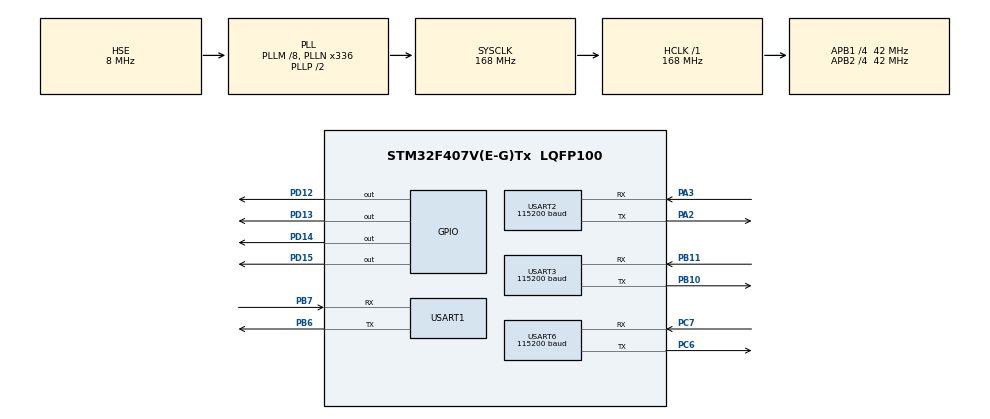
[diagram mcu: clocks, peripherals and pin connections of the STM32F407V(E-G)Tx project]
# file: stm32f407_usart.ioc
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Dma.Request0=USART2_RX
Dma.Request1=USART1_TX
Dma.Request2=USART2_TX
Dma.Request3=USART1_RX
Dma.Request4=USART3_RX
Dma.Request5=USART3_TX
Dma.USART1_RX.3.Direction=DMA_PERIPH_TO_MEMORY
Dma.USART1_RX.3.FIFOMode=DMA_FIFOMODE_DISABLE
Dma.USART1_RX.3.Instance=DMA2_Stream2
Dma.USART1_RX.3.MemDataAlignment=DMA_MDATAALIGN_BYTE
Dma.USART1_RX.3.MemInc=DMA_MINC_ENABLE
Dma.USART1_RX.3.Mode=DMA_CIRCULAR
Dma.USART1_RX.3.PeriphDataAlignment=DMA_PDATAALIGN_BYTE
Dma.USART1_RX.3.PeriphInc=DMA_PINC_DISABLE
Dma.USART1_RX.3.Priority=DMA_PRIORITY_MEDIUM
Dma.USART1_TX.1.Direction=DMA_MEMORY_TO_PERIPH
Dma.USART1_TX.1.FIFOMode=DMA_FIFOMODE_DISABLE
Dma.USART1_TX.1.Instance=DMA2_Stream7
Dma.USART1_TX.1.MemDataAlignment=DMA_MDATAALIGN_BYTE
Dma.USART1_TX.1.MemInc=DMA_MINC_ENABLE
Dma.USART1_TX.1.Mode=DMA_NORMAL
Dma.USART1_TX.1.PeriphDataAlignment=DMA_PDATAALIGN_BYTE
Dma.USART1_TX.1.PeriphInc=DMA_PINC_DISABLE
Dma.USART1_TX.1.Priority=DMA_PRIORITY_MEDIUM
Dma.USART2_RX.0.Direction=DMA_PERIPH_TO_MEMORY
Dma.USART2_RX.0.FIFOMode=DMA_FIFOMODE_DISABLE
Dma.USART2_RX.0.Instance=DMA1_Stream5
Dma.USART2_RX.0.MemDataAlignment=DMA_MDATAALIGN_BYTE
Dma.USART2_RX.0.MemInc=DMA_MINC_ENABLE
Dma.USART2_RX.0.Mode=DMA_CIRCULAR
Dma.USART2_RX.0.PeriphDataAlignment=DMA_PDATAALIGN_BYTE
Dma.USART2_RX.0.PeriphInc=DMA_PINC_DISABLE
Dma.USART2_RX.0.Priority=DMA_PRIORITY_LOW
Dma.USART2_TX.2.Direction=DMA_MEMORY_TO_PERIPH
Dma.USART2_TX.2.FIFOMode=DMA_FIFOMODE_DISABLE
Dma.USART2_TX.2.Instance=DMA1_Stream6
Dma.USART2_TX.2.MemDataAlignment=DMA_MDATAALIGN_BYTE
Dma.USART2_TX.2.MemInc=DMA_MINC_ENABLE
Dma.USART2_TX.2.Mode=DMA_NORMAL
Dma.USART2_TX.2.PeriphDataAlignment=DMA_PDATAALIGN_BYTE
Dma.USART2_TX.2.PeriphInc=DMA_PINC_DISABLE
Dma.USART2_TX.2.Priority=DMA_PRIORITY_LOW
Dma.USART3_RX.4.Direction=DMA_PERIPH_TO_MEMORY
Dma.USART3_RX.4.FIFOMode=DMA_FIFOMODE_DISABLE
Dma.USART3_RX.4.Instance=DMA1_Stream1
Dma.USART3_RX.4.MemDataAlignment=DMA_MDATAALIGN_BYTE
Dma.USART3_RX.4.MemInc=DMA_MINC_ENABLE
Dma.USART3_RX.4.Mode=DMA_CIRCULAR
Dma.USART3_RX.4.PeriphDataAlignment=DMA_PDATAALIGN_BYTE
Dma.USART3_RX.4.PeriphInc=DMA_PINC_DISABLE
Dma.USART3_RX.4.Priority=DMA_PRIORITY_LOW
Dma.USART3_TX.5.Direction=DMA_MEMORY_TO_PERIPH
Dma.USART3_TX.5.FIFOMode=DMA_FIFOMODE_DISABLE
Dma.USART3_TX.5.Instance=DMA1_Stream3
Dma.USART3_TX.5.MemDataAlignment=DMA_MDATAALIGN_BYTE
Dma.USART3_TX.5.MemInc=DMA_MINC_ENABLE
Dma.USART3_TX.5.Mode=DMA_NORMAL
Dma.USART3_TX.5.PeriphDataAlignment=DMA_PDATAALIGN_BYTE
Dma.USART3_TX.5.PeriphInc=DMA_PINC_DISABLE
Dma.USART3_TX.5.Priority=DMA_PRIORITY_LOW
Mcu.Family=STM32F4
Mcu.Name=STM32F407V(E-G)Tx
Mcu.Package=LQFP100
NVIC.DMA1_Stream1_IRQn=true\:0\:0\:false\:false\:true\:true\:true\:true
NVIC.DMA1_Stream3_IRQn=true\:0\:0\:false\:false\:true\:false\:true\:true
NVIC.DMA1_Stream5_IRQn=true\:0\:0\:false\:false\:true\:true\:true\:true
NVIC.DMA1_Stream6_IRQn=true\:0\:0\:false\:false\:true\:false\:true\:true
NVIC.DMA2_Stream2_IRQn=true\:0\:0\:false\:false\:true\:false\:true\:true
NVIC.DMA2_Stream7_IRQn=true\:0\:0\:false\:false\:true\:false\:true\:true
NVIC.PriorityGroup=NVIC_PRIORITYGROUP_4
NVIC.USART1_IRQn=true\:0\:0\:false\:false\:true\:true\:true\:true
NVIC.USART2_IRQn=true\:0\:0\:false\:false\:true\:true\:true\:true
NVIC.USART3_IRQn=true\:0\:0\:false\:false\:true\:true\:true\:true
NVIC.USART6_IRQn=true\:0\:0\:false\:false\:true\:true\:true\:true
PA2.Mode=Asynchronous
PA2.Signal=USART2_TX
PA3.Mode=Asynchronous
PA3.Signal=USART2_RX
PB10.Mode=Asynchronous
PB10.Signal=USART3_TX
PB11.Mode=Asynchronous
PB11.Signal=USART3_RX
PB6.Mode=Asynchronous
PB6.Signal=USART1_TX
PB7.Mode=Asynchronous
PB7.Signal=USART1_RX
PC6.Mode=Asynchronous
PC6.Signal=USART6_TX
PC7.Mode=Asynchronous
PC7.Signal=USART6_RX
PD12.Signal=GPIO_Output
PD13.Signal=GPIO_Output
PD14.Signal=GPIO_Output
PD15.Signal=GPIO_Output
PH0-OSC_IN.Mode=HSE-External-Oscillator
PH0-OSC_IN.Signal=RCC_OSC_IN
PH1-OSC_OUT.Mode=HSE-External-Oscillator
PH1-OSC_OUT.Signal=RCC_OSC_OUT
ProjectManager.HeapSize=0x200
ProjectManager.StackSize=0x400
ProjectManager.TargetToolchain=MDK-ARM V5
RCC.48MHZClocksFreq_Value=84000000
RCC.AHBFreq_Value=168000000
RCC.APB1CLKDivider=RCC_HCLK_DIV4
RCC.APB1Freq_Value=42000000
RCC.APB1TimFreq_Value=84000000
RCC.APB2CLKDivider=RCC_HCLK_DIV4
RCC.APB2Freq_Value=42000000
RCC.APB2TimFreq_Value=84000000
RCC.CortexFreq_Value=168000000
RCC.HCLKFreq_Value=168000000
RCC.HSE_VALUE=8000000
RCC.HSI_VALUE=16000000
RCC.LSE_VALUE=32768
RCC.PLLM=8
RCC.PLLN=336
RCC.PLLSourceVirtual=RCC_PLLSOURCE_HSE
RCC.SYSCLKFreq_VALUE=168000000
RCC.SYSCLKSource=RCC_SYSCLKSOURCE_PLLCLK
RCC.VCOOutputFreq_Value=336000000
USART1.VirtualMode=VM_ASYNC
USART2.BaudRate=115200
USART2.VirtualMode=VM_ASYNC
USART3.BaudRate=115200
USART3.VirtualMode=VM_ASYNC
USART6.BaudRate=115200
USART6.StopBits=STOPBITS_1
USART6.VirtualMode=VM_ASYNC
board=Uart Echo Data Using DMA

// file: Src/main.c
/* USER CODE BEGIN Header */
/**
  ******************************************************************************
  * @file           : main.c
  * @brief          : Main program body
  ******************************************************************************
  * @attention
  *
  * <h2><center>&copy; Copyright (c) 2022 STMicroelectronics.
  * All rights reserved.</center></h2>
  *
  * This software component is licensed by ST under BSD 3-Clause license,
  * the "License"; You may not use this file except in compliance with the
  * License. You may obtain a copy of the License at:
  *                        opensource.org/licenses/BSD-3-Clause
  *
  ******************************************************************************
  */
/* USER CODE END Header */
#include "main.h"

/* USER CODE BEGIN Includes */
#include <stdio.h>
#include <string.h>
/* USER CODE END Includes */

UART_HandleTypeDef huart1;
UART_HandleTypeDef huart2;
UART_HandleTypeDef huart3;
UART_HandleTypeDef huart6;
DMA_HandleTypeDef hdma_usart1_tx;
DMA_HandleTypeDef hdma_usart1_rx;
DMA_HandleTypeDef hdma_usart2_rx;
DMA_HandleTypeDef hdma_usart2_tx;
DMA_HandleTypeDef hdma_usart3_rx;
DMA_HandleTypeDef hdma_usart3_tx;

void SystemClock_Config(void);
static void MX_GPIO_Init(void);
static void MX_DMA_Init(void);
static void MX_USART2_UART_Init(void);
static void MX_USART3_UART_Init(void);
static void MX_USART6_UART_Init(void);
static void MX_USART1_UART_Init(void);

/* USER CODE BEGIN 0 */
uint8_t while_cnt;
uint8_t uart_send_buffer[] = "helloworld!";
uint8_t u1_rx_buffer[UART_RX_SIZE], u2_rx_buffer[UART_RX_SIZE];

char buffer1[SEND_BUFF_SIZE];
char buffer2[SEND_BUFF_SIZE];
/* USER CODE END 0 */

int main(void)
{

  /* MCU Configuration--------------------------------------------------------*/

  /* Reset of all peripherals, Initializes the Flash interface and the Systick. */
  HAL_Init();

  /* Configure the system clock */
  SystemClock_Config();

  /* Initialize all configured peripherals */
  MX_GPIO_Init();
  MX_DMA_Init();
  MX_USART2_UART_Init();
  MX_USART3_UART_Init();
  MX_USART6_UART_Init();
  MX_USART1_UART_Init();
  /* USER CODE BEGIN 2 */
  HAL_UART_Receive_DMA(&huart1, &u1_rx_buffer[0], UART_RX_SIZE);
  HAL_UART_Receive_DMA(&huart2, &u2_rx_buffer[0], UART_RX_SIZE);
  /* USER CODE END 2 */

  /* Infinite loop */
  /* USER CODE BEGIN WHILE */
  while (1)
  {
    HAL_UART_Transmit_DMA(&huart3, uart_send_buffer, 15);
		while_cnt++;
		HAL_GPIO_TogglePin(GPIOD, GPIO_PIN_12|GPIO_PIN_14|GPIO_PIN_15);
		if (while_cnt%2) {
				sprintf(buffer1, "UART1 TX ABCDEF %d\n", while_cnt);
				HAL_UART_Transmit_DMA(&huart1, (uint8_t *)buffer1, SEND_BUFF_SIZE);
		}
    else {
				sprintf(buffer2, "UART2 TX ABCDEF %d\n", while_cnt);
				HAL_UART_Transmit_DMA(&huart2, (uint8_t *)buffer2, SEND_BUFF_SIZE);
    }
		HAL_Delay(500);

    /* USER CODE END WHILE */

  }
}

void SystemClock_Config(void)
{
  RCC_OscInitTypeDef RCC_OscInitStruct = {0};
  RCC_ClkInitTypeDef RCC_ClkInitStruct = {0};

  /** Configure the main internal regulator output voltage
  */
  __HAL_RCC_PWR_CLK_ENABLE();
  __HAL_PWR_VOLTAGESCALING_CONFIG(PWR_REGULATOR_VOLTAGE_SCALE1);

  /** Initializes the RCC Oscillators according to the specified parameters
  * in the RCC_OscInitTypeDef structure.
  */
  RCC_OscInitStruct.OscillatorType = RCC_OSCILLATORTYPE_HSE;
  RCC_OscInitStruct.HSEState = RCC_HSE_ON;
  RCC_OscInitStruct.PLL.PLLState = RCC_PLL_ON;
  RCC_OscInitStruct.PLL.PLLSource = RCC_PLLSOURCE_HSE;
  RCC_OscInitStruct.PLL.PLLM = 8;
  RCC_OscInitStruct.PLL.PLLN = 336;
  RCC_OscInitStruct.PLL.PLLP = RCC_PLLP_DIV2;
  RCC_OscInitStruct.PLL.PLLQ = 4;
  if (HAL_RCC_OscConfig(&RCC_OscInitStruct) != HAL_OK)
  {
    Error_Handler();
  }

  /** Initializes the CPU, AHB and APB buses clocks
  */
  RCC_ClkInitStruct.ClockType = RCC_CLOCKTYPE_HCLK|RCC_CLOCKTYPE_SYSCLK
                              |RCC_CLOCKTYPE_PCLK1|RCC_CLOCKTYPE_PCLK2;
  RCC_ClkInitStruct.SYSCLKSource = RCC_SYSCLKSOURCE_PLLCLK;
  RCC_ClkInitStruct.AHBCLKDivider = RCC_SYSCLK_DIV1;
  RCC_ClkInitStruct.APB1CLKDivider = RCC_HCLK_DIV4;
  RCC_ClkInitStruct.APB2CLKDivider = RCC_HCLK_DIV4;

  if (HAL_RCC_ClockConfig(&RCC_ClkInitStruct, FLASH_LATENCY_5) != HAL_OK)
  {
    Error_Handler();
  }
}

static void MX_USART1_UART_Init(void)
{

  huart1.Instance = USART1;
  huart1.Init.BaudRate = 115200;
  huart1.Init.WordLength = UART_WORDLENGTH_8B;
  huart1.Init.StopBits = UART_STOPBITS_1;
  huart1.Init.Parity = UART_PARITY_NONE;
  huart1.Init.Mode = UART_MODE_TX_RX;
  huart1.Init.HwFlowCtl = UART_HWCONTROL_NONE;
  huart1.Init.OverSampling = UART_OVERSAMPLING_16;
  if (HAL_UART_Init(&huart1) != HAL_OK)
  {
    Error_Handler();
  }

}

static void MX_USART2_UART_Init(void)
{

  huart2.Instance = USART2;
  huart2.Init.BaudRate = 115200;
  huart2.Init.WordLength = UART_WORDLENGTH_8B;
  huart2.Init.StopBits = UART_STOPBITS_1;
  huart2.Init.Parity = UART_PARITY_NONE;
  huart2.Init.Mode = UART_MODE_TX_RX;
  huart2.Init.HwFlowCtl = UART_HWCONTROL_NONE;
  huart2.Init.OverSampling = UART_OVERSAMPLING_16;
  if (HAL_UART_Init(&huart2) != HAL_OK)
  {
    Error_Handler();
  }

}

static void MX_USART3_UART_Init(void)
{

  huart3.Instance = USART3;
  huart3.Init.BaudRate = 115200;
  huart3.Init.WordLength = UART_WORDLENGTH_8B;
  huart3.Init.StopBits = UART_STOPBITS_1;
  huart3.Init.Parity = UART_PARITY_NONE;
  huart3.Init.Mode = UART_MODE_TX_RX;
  huart3.Init.HwFlowCtl = UART_HWCONTROL_NONE;
  huart3.Init.OverSampling = UART_OVERSAMPLING_16;
  if (HAL_UART_Init(&huart3) != HAL_OK)
  {
    Error_Handler();
  }

}

static void MX_USART6_UART_Init(void)
{

  huart6.Instance = USART6;
  huart6.Init.BaudRate = 115200;
  huart6.Init.WordLength = UART_WORDLENGTH_8B;
  huart6.Init.StopBits = UART_STOPBITS_1;
  huart6.Init.Parity = UART_PARITY_NONE;
  huart6.Init.Mode = UART_MODE_TX_RX;
  huart6.Init.HwFlowCtl = UART_HWCONTROL_NONE;
  huart6.Init.OverSampling = UART_OVERSAMPLING_16;
  if (HAL_UART_Init(&huart6) != HAL_OK)
  {
    Error_Handler();
  }

}

static void MX_DMA_Init(void)
{

  /* DMA controller clock enable */
  __HAL_RCC_DMA1_CLK_ENABLE();
  __HAL_RCC_DMA2_CLK_ENABLE();

  /* DMA interrupt init */
  /* DMA1_Stream1_IRQn interrupt configuration */
  HAL_NVIC_SetPriority(DMA1_Stream1_IRQn, 0, 0);
  HAL_NVIC_EnableIRQ(DMA1_Stream1_IRQn);
  /* DMA1_Stream3_IRQn interrupt configuration */
  HAL_NVIC_SetPriority(DMA1_Stream3_IRQn, 0, 0);
  HAL_NVIC_EnableIRQ(DMA1_Stream3_IRQn);
  /* DMA1_Stream5_IRQn interrupt configuration */
  HAL_NVIC_SetPriority(DMA1_Stream5_IRQn, 0, 0);
  HAL_NVIC_EnableIRQ(DMA1_Stream5_IRQn);
  /* DMA1_Stream6_IRQn interrupt configuration */
  HAL_NVIC_SetPriority(DMA1_Stream6_IRQn, 0, 0);
  HAL_NVIC_EnableIRQ(DMA1_Stream6_IRQn);
  /* DMA2_Stream2_IRQn interrupt configuration */
  HAL_NVIC_SetPriority(DMA2_Stream2_IRQn, 0, 0);
  HAL_NVIC_EnableIRQ(DMA2_Stream2_IRQn);
  /* DMA2_Stream7_IRQn interrupt configuration */
  HAL_NVIC_SetPriority(DMA2_Stream7_IRQn, 0, 0);
  HAL_NVIC_EnableIRQ(DMA2_Stream7_IRQn);

}

static void MX_GPIO_Init(void)
{
  GPIO_InitTypeDef GPIO_InitStruct = {0};

  /* GPIO Ports Clock Enable */
  __HAL_RCC_GPIOH_CLK_ENABLE();
  __HAL_RCC_GPIOA_CLK_ENABLE();
  __HAL_RCC_GPIOB_CLK_ENABLE();
  __HAL_RCC_GPIOD_CLK_ENABLE();
  __HAL_RCC_GPIOC_CLK_ENABLE();

  /*Configure GPIO pin Output Level */
  HAL_GPIO_WritePin(GPIOD, GPIO_PIN_12|GPIO_PIN_13|GPIO_PIN_14|GPIO_PIN_15, GPIO_PIN_RESET);

  /*Configure GPIO pins : PD12 PD13 PD14 PD15 */
  GPIO_InitStruct.Pin = GPIO_PIN_12|GPIO_PIN_13|GPIO_PIN_14|GPIO_PIN_15;
  GPIO_InitStruct.Mode = GPIO_MODE_OUTPUT_PP;
  GPIO_InitStruct.Pull = GPIO_NOPULL;
  GPIO_InitStruct.Speed = GPIO_SPEED_FREQ_LOW;
  HAL_GPIO_Init(GPIOD, &GPIO_InitStruct);

}

void Error_Handler(void)
{
  __disable_irq();
  while (1)
  {
  }
}
